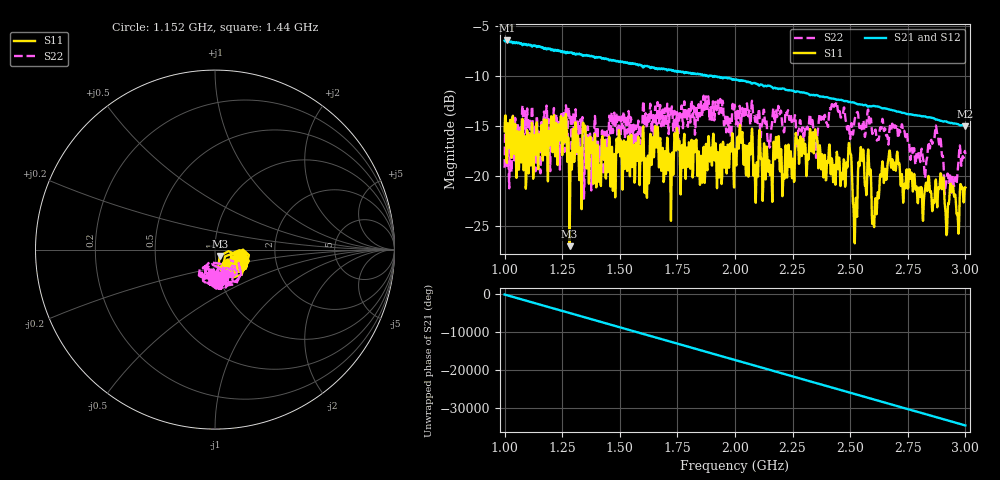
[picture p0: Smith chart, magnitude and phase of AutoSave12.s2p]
!Agilent N9923A: A.05.17
!Date: Sunday, 01 January 2006 13:26:01
!Model: N9923A
!Serial: MY50371189
!CHECKSUM:0721150045
!Correction: S11(ON U)S21(OFF)S12(OFF)S22(OFF)
!S2P File: Measurements:S11,S21,S12,S22:
# Hz S DB R 50
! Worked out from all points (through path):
!   1001 points, 1 GHz to 3 GHz, reference 50 ohm
!   highest |S21| = -6.40 dB at 1.01 GHz (marker M1); lowest = -15.0 dB at 3 GHz (marker M2)
!   lowest |S11| = -27.1 dB at 1.282 GHz (marker M3), VSWR 1.09, Z = 52.5 - j3.77 ohm
!   |S11| at or under -10 dB: start of sweep to end of sweep
!   |S22| runs from -22.3 to -12.0 dB; largest |S21 - S12| = 0.0054
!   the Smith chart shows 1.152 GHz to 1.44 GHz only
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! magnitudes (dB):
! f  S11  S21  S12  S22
! 1 GHz  -15.5  -6.4  -6.4  -19.2
! 1.01 GHz  -18.7  -6.4  -6.4  -19.0
! 1.256 GHz  -14.2  -7.6  -7.6  -13.7
! 1.282 GHz  -27.1  -7.6  -7.6  -14.4
! 1.334 GHz  -23.4  -7.8  -7.8  -15.7
! 1.618 GHz  -22.2  -9.0  -9.0  -15.2
! 1.668 GHz  -17.7  -9.2  -9.2  -14.0
! 1.722 GHz  -24.5  -9.3  -9.3  -14.1
! 1.748 GHz  -15.2  -9.6  -9.6  -13.6
! 2 GHz  -17.3  -10.4  -10.4  -13.1
! 2.18 GHz  -16.4  -11.2  -11.3  -13.7
! 2.206 GHz  -22.1  -11.2  -11.3  -15.0
! 2.334 GHz  -16.4  -11.9  -11.9  -14.5
! 2.496 GHz  -16.7  -12.6  -12.7  -15.4
! 2.52 GHz  -26.8  -12.7  -12.8  -14.3
! 2.548 GHz  -17.5  -12.8  -12.9  -15.0
! 2.604 GHz  -25.2  -13.0  -13.0  -15.7
! 2.668 GHz  -17.9  -13.3  -13.4  -16.4
! 2.824 GHz  -21.5  -14.0  -14.0  -20.2
! 2.874 GHz  -21.2  -14.4  -14.4  -15.2
! 2.918 GHz  -26.0  -14.5  -14.5  -20.6
! 3 GHz  -21.2  -15.0  -14.9  -17.8
